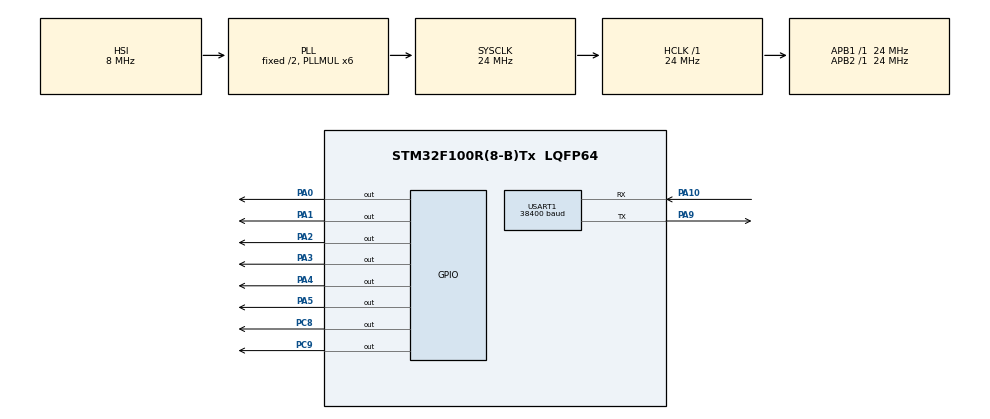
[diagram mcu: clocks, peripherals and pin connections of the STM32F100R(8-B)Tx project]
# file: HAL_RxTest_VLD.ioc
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Mcu.Family=STM32F1
Mcu.Name=STM32F100R(8-B)Tx
Mcu.Package=LQFP64
NVIC.PriorityGroup=NVIC_PRIORITYGROUP_4
NVIC.USART1_IRQn=true\:0\:0\:false\:false\:true\:true
PA0-WKUP.GPIO_Speed=GPIO_SPEED_FREQ_HIGH
PA0-WKUP.Signal=GPIO_Output
PA1.GPIO_Speed=GPIO_SPEED_FREQ_HIGH
PA1.Signal=GPIO_Output
PA10.Mode=Asynchronous
PA10.Signal=USART1_RX
PA13.Mode=Serial_Wire
PA13.Signal=SYS_JTMS-SWDIO
PA14.Mode=Serial_Wire
PA14.Signal=SYS_JTCK-SWCLK
PA2.GPIO_Speed=GPIO_SPEED_FREQ_HIGH
PA2.Signal=GPIO_Output
PA3.GPIO_Speed=GPIO_SPEED_FREQ_HIGH
PA3.Signal=GPIO_Output
PA4.GPIO_Speed=GPIO_SPEED_FREQ_HIGH
PA4.Signal=GPIO_Output
PA5.GPIO_Speed=GPIO_SPEED_FREQ_HIGH
PA5.Signal=GPIO_Output
PA9.Mode=Asynchronous
PA9.Signal=USART1_TX
PC8.GPIO_Speed=GPIO_SPEED_FREQ_HIGH
PC8.Signal=GPIO_Output
PC9.GPIO_Speed=GPIO_SPEED_FREQ_HIGH
PC9.Signal=GPIO_Output
PD0-OSC_IN.Mode=HSE-External-Oscillator
PD0-OSC_IN.Signal=RCC_OSC_IN
PD1-OSC_OUT.Mode=HSE-External-Oscillator
PD1-OSC_OUT.Signal=RCC_OSC_OUT
ProjectManager.HeapSize=0x200
ProjectManager.StackSize=0x400
ProjectManager.TargetToolchain=MDK-ARM V5
RCC.AHBFreq_Value=24000000
RCC.APB1Freq_Value=24000000
RCC.APB1TimFreq_Value=24000000
RCC.APB2Freq_Value=24000000
RCC.APB2TimFreq_Value=24000000
RCC.HCLKFreq_Value=24000000
RCC.PLLMUL=RCC_PLL_MUL6
RCC.SYSCLKFreq_VALUE=24000000
RCC.SYSCLKSource=RCC_SYSCLKSOURCE_PLLCLK
USART1.BaudRate=38400
USART1.StopBits=STOPBITS_2
USART1.VirtualMode=VM_ASYNC
board=HAL_RxTest_VLD

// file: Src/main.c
/**
  ******************************************************************************
  * @file           : main.c
  * @brief          : Main program body
  ******************************************************************************
  ** This notice applies to any and all portions of this file
  * that are not between comment pairs USER CODE BEGIN and
  * USER CODE END. Other portions of this file, whether
  * inserted by the user or by software development tools
  * are owned by their respective copyright owners.
  *
  * COPYRIGHT(c) 2018 STMicroelectronics
  *
  * Redistribution and use in source and binary forms, with or without modification,
  * are permitted provided that the following conditions are met:
  *   1. Redistributions of source code must retain the above copyright notice,
  *      this list of conditions and the following disclaimer.
  *   2. Redistributions in binary form must reproduce the above copyright notice,
  *      this list of conditions and the following disclaimer in the documentation
  *      and/or other materials provided with the distribution.
  *   3. Neither the name of STMicroelectronics nor the names of its contributors
  *      may be used to endorse or promote products derived from this software
  *      without specific prior written permission.
  *
  * THIS SOFTWARE IS PROVIDED BY THE COPYRIGHT HOLDERS AND CONTRIBUTORS "AS IS"
  * AND ANY EXPRESS OR IMPLIED WARRANTIES, INCLUDING, BUT NOT LIMITED TO, THE
  * IMPLIED WARRANTIES OF MERCHANTABILITY AND FITNESS FOR A PARTICULAR PURPOSE ARE
  * DISCLAIMED. IN NO EVENT SHALL THE COPYRIGHT HOLDER OR CONTRIBUTORS BE LIABLE
  * FOR ANY DIRECT, INDIRECT, INCIDENTAL, SPECIAL, EXEMPLARY, OR CONSEQUENTIAL
  * DAMAGES (INCLUDING, BUT NOT LIMITED TO, PROCUREMENT OF SUBSTITUTE GOODS OR
  * SERVICES; LOSS OF USE, DATA, OR PROFITS; OR BUSINESS INTERRUPTION) HOWEVER
  * CAUSED AND ON ANY THEORY OF LIABILITY, WHETHER IN CONTRACT, STRICT LIABILITY,
  * OR TORT (INCLUDING NEGLIGENCE OR OTHERWISE) ARISING IN ANY WAY OUT OF THE USE
  * OF THIS SOFTWARE, EVEN IF ADVISED OF THE POSSIBILITY OF SUCH DAMAGE.
  *
  ******************************************************************************
  */
#include "main.h"
#include "stm32f1xx_hal.h"

/* USER CODE BEGIN Includes */
#include "string.h"
#include "stdio.h"

/* USER CODE END Includes */

UART_HandleTypeDef huart1;

/* USER CODE BEGIN PV */
/* Private variables ---------------------------------------------------------*/
char CRxBuff[2];
char RxBuff[4];
char RxAxis[1];
char RxMult[1];
char RxEnc[2];
/* USER CODE END PV */

void SystemClock_Config(void);
static void MX_GPIO_Init(void);
static void MX_USART1_UART_Init(void);

/* USER CODE BEGIN PFP */
/* Private function prototypes -----------------------------------------------*/

/* USER CODE END PFP */

int main(void)
{

  /* MCU Configuration----------------------------------------------------------*/

  /* Reset of all peripherals, Initializes the Flash interface and the Systick. */
  HAL_Init();

  /* Configure the system clock */
  SystemClock_Config();

  /* Initialize all configured peripherals */
  MX_GPIO_Init();
  MX_USART1_UART_Init();
  /* USER CODE BEGIN 2 */
	/**
	#define UART_IT_MASK  0x0000FFFFU
	#define __HAL_UART_ENABLE_IT(__HANDLE__, __INTERRUPT__)   ((((__INTERRUPT__) >> 28U) == 1U)? ((__HANDLE__)->Instance->CR1 |= ((__INTERRUPT__) & UART_IT_MASK)): \
                                                           (((__INTERRUPT__) >> 28U) == 2U)? ((__HANDLE__)->Instance->CR2 |=  ((__INTERRUPT__) & UART_IT_MASK)): \
                                                        ((__HANDLE__)->Instance->CR3 |= ((__INTERRUPT__) & UART_IT_MASK)))
	@brief  Enable the specified UART interrupt.
  * @param  __HANDLE__ specifies the UART Handle.
  *         This parameter can be UARTx where x: 1, 2, 3, 4, 5, 6, 7 or 8 to select the USART or
  *         UART peripheral.
  * @param  __INTERRUPT__ specifies the UART interrupt source to enable.
  *          This parameter can be one of the following values:
  *            @arg UART_IT_CTS:  CTS change interrupt
  *            @arg UART_IT_LBD:  LIN Break detection interrupt
  *            @arg UART_IT_TXE:  Transmit Data Register empty interrupt
  *            @arg UART_IT_TC:   Transmission complete interrupt
  *            @arg UART_IT_RXNE: Receive Data register not empty interrupt
  *            @arg UART_IT_IDLE: Idle line detection interrupt
  *            @arg UART_IT_PE:   Parity Error interrupt
  *            @arg UART_IT_ERR:  Error interrupt(Frame error, noise error, overrun error)
  * @retval None
  */
	__HAL_UART_ENABLE_IT(&huart1, UART_IT_TC|UART_IT_RXNE);

  /* USER CODE END 2 */

  /* Infinite loop */
  while (1)
  {

  /* USER CODE BEGIN 3 */
		/**
		HAL_UART_Receive_IT(UART_HandleTypeDef *huart, uint8_t *pData, uint16_t Size)
		* @brief  Receives an amount of data in non blocking mode.
		* @param  huart: pointer to a UART_HandleTypeDef structure that contains
		*                the configuration information for the specified UART module.
		* @param  pData: Pointer to data buffer
		* @param  Size: Amount of data to be received
		* @retval HAL status
		*/
		//HAL_UART_Receive_IT(&huart1, (uint8_t *)RxBuff, strlen(RxBuff)); // receive the data and seve in rxBuff
		/**
		extern _ARMABI void *memcpy(void * __restrict s1,
                  const void * __restrict s2, size_t n) __attribute__((__nonnull__(1,2)));
		* copies n characters from the object pointed to by s2 into the object
		* pointed to by s1. If copying takes place between objects that overlap,
		* the behaviour is undefined.
		* Returns: the value of s1.
		*/
		memcpy(RxAxis, &RxBuff[0], 1);
		/**
		int strncmp(const char * s1, const char * s2, size_t n) __attribute__((__nonnull__(1,2)));
    * compares not more than n characters (characters that follow a null
    * character are not compared) from the array pointed to by s1 to the array
    * pointed to by s2.
    * Returns: an integer greater than, equal to, or less than zero, according
    *          as the string pointed to by s1 is greater than, equal to, or
    *          less than the string pointed to by s2.
    */
		if(strncmp(RxAxis, "1", 1) == 0)	//Compara rxBuff con "_"
		{
			HAL_GPIO_WritePin(GPIOA, GPIO_PIN_0, GPIO_PIN_SET);
			HAL_GPIO_WritePin(GPIOA, GPIO_PIN_1, GPIO_PIN_RESET);
			HAL_GPIO_WritePin(GPIOA, GPIO_PIN_2, GPIO_PIN_RESET);
			//HAL_Delay(100);
		} else if(strncmp(RxAxis, "2", 1) == 0)
			{
				HAL_GPIO_WritePin(GPIOA, GPIO_PIN_0, GPIO_PIN_RESET);
				HAL_GPIO_WritePin(GPIOA, GPIO_PIN_1, GPIO_PIN_SET);
				HAL_GPIO_WritePin(GPIOA, GPIO_PIN_2, GPIO_PIN_RESET);
				//HAL_Delay(100);
			} else if(strncmp(RxAxis, "3", 1) == 0)
				{
					HAL_GPIO_WritePin(GPIOA, GPIO_PIN_0, GPIO_PIN_RESET);
					HAL_GPIO_WritePin(GPIOA, GPIO_PIN_1, GPIO_PIN_RESET);
					HAL_GPIO_WritePin(GPIOA, GPIO_PIN_2, GPIO_PIN_SET);
					//HAL_Delay(100);
				}
		memcpy(RxMult, &RxBuff[1], 1);
		if(strncmp(RxMult, "1", 1) == 0)
		{
			HAL_GPIO_WritePin(GPIOA, GPIO_PIN_3, GPIO_PIN_SET);
			HAL_GPIO_WritePin(GPIOA, GPIO_PIN_4, GPIO_PIN_RESET);
			HAL_GPIO_WritePin(GPIOA, GPIO_PIN_5, GPIO_PIN_RESET);
			//HAL_Delay(100);
		} else if(strncmp(RxMult, "2", 1) == 0)
			{
				HAL_GPIO_WritePin(GPIOA, GPIO_PIN_3, GPIO_PIN_RESET);
				HAL_GPIO_WritePin(GPIOA, GPIO_PIN_4, GPIO_PIN_SET);
				HAL_GPIO_WritePin(GPIOA, GPIO_PIN_5, GPIO_PIN_RESET);
				//HAL_Delay(100);
			} else if(strncmp(RxMult, "3", 1) == 0)
				{
					HAL_GPIO_WritePin(GPIOA, GPIO_PIN_3, GPIO_PIN_RESET);
					HAL_GPIO_WritePin(GPIOA, GPIO_PIN_4, GPIO_PIN_RESET);
					HAL_GPIO_WritePin(GPIOA, GPIO_PIN_5, GPIO_PIN_SET);
					//HAL_Delay(100);
				}
		memcpy(RxEnc, &RxBuff[2], 2);
		if(strncmp(RxEnc, "00", 2) == 0)
		{
		HAL_GPIO_WritePin(GPIOC, GPIO_PIN_8, GPIO_PIN_RESET);
		HAL_GPIO_WritePin(GPIOC, GPIO_PIN_9, GPIO_PIN_RESET);
		} else if(strncmp(RxEnc, "01", 2) == 0)
			{
			HAL_GPIO_WritePin(GPIOC, GPIO_PIN_8, GPIO_PIN_SET);
			HAL_GPIO_WritePin(GPIOC, GPIO_PIN_9, GPIO_PIN_RESET);
			} else if(strncmp(RxEnc, "10", 2) == 0)
				{
				HAL_GPIO_WritePin(GPIOC, GPIO_PIN_8, GPIO_PIN_RESET);
				HAL_GPIO_WritePin(GPIOC, GPIO_PIN_9, GPIO_PIN_SET);
				} else if(strncmp(RxEnc, "11", 2) == 0)
					{
					HAL_GPIO_WritePin(GPIOC, GPIO_PIN_8, GPIO_PIN_SET);
					HAL_GPIO_WritePin(GPIOC, GPIO_PIN_9, GPIO_PIN_SET);
					}
  }
  /* USER CODE END 3 */

}

void SystemClock_Config(void)
{

  RCC_OscInitTypeDef RCC_OscInitStruct;
  RCC_ClkInitTypeDef RCC_ClkInitStruct;

    /**Initializes the CPU, AHB and APB busses clocks
    */
  RCC_OscInitStruct.OscillatorType = RCC_OSCILLATORTYPE_HSI;
  RCC_OscInitStruct.HSIState = RCC_HSI_ON;
  RCC_OscInitStruct.HSICalibrationValue = 16;
  RCC_OscInitStruct.PLL.PLLState = RCC_PLL_ON;
  RCC_OscInitStruct.PLL.PLLSource = RCC_PLLSOURCE_HSI_DIV2;
  RCC_OscInitStruct.PLL.PLLMUL = RCC_PLL_MUL6;
  if (HAL_RCC_OscConfig(&RCC_OscInitStruct) != HAL_OK)
  {
    _Error_Handler(__FILE__, __LINE__);
  }

    /**Initializes the CPU, AHB and APB busses clocks
    */
  RCC_ClkInitStruct.ClockType = RCC_CLOCKTYPE_HCLK|RCC_CLOCKTYPE_SYSCLK
                              |RCC_CLOCKTYPE_PCLK1|RCC_CLOCKTYPE_PCLK2;
  RCC_ClkInitStruct.SYSCLKSource = RCC_SYSCLKSOURCE_PLLCLK;
  RCC_ClkInitStruct.AHBCLKDivider = RCC_SYSCLK_DIV1;
  RCC_ClkInitStruct.APB1CLKDivider = RCC_HCLK_DIV1;
  RCC_ClkInitStruct.APB2CLKDivider = RCC_HCLK_DIV1;

  if (HAL_RCC_ClockConfig(&RCC_ClkInitStruct, FLASH_LATENCY_0) != HAL_OK)
  {
    _Error_Handler(__FILE__, __LINE__);
  }

    /**Configure the Systick interrupt time
    */
  HAL_SYSTICK_Config(HAL_RCC_GetHCLKFreq()/1000);

    /**Configure the Systick
    */
  HAL_SYSTICK_CLKSourceConfig(SYSTICK_CLKSOURCE_HCLK);

  /* SysTick_IRQn interrupt configuration */
  HAL_NVIC_SetPriority(SysTick_IRQn, 0, 0);
}

/* USART1 init function */
static void MX_USART1_UART_Init(void)
{

  huart1.Instance = USART1;
  huart1.Init.BaudRate = 38400;
  huart1.Init.WordLength = UART_WORDLENGTH_8B;
  huart1.Init.StopBits = UART_STOPBITS_2;
  huart1.Init.Parity = UART_PARITY_NONE;
  huart1.Init.Mode = UART_MODE_TX_RX;
  huart1.Init.HwFlowCtl = UART_HWCONTROL_NONE;
  huart1.Init.OverSampling = UART_OVERSAMPLING_16;
  if (HAL_UART_Init(&huart1) != HAL_OK)
  {
    _Error_Handler(__FILE__, __LINE__);
  }

}

/** Configure pins as
        * Analog
        * Input
        * Output
        * EVENT_OUT
        * EXTI
*/
static void MX_GPIO_Init(void)
{

  GPIO_InitTypeDef GPIO_InitStruct;

  /* GPIO Ports Clock Enable */
  __HAL_RCC_GPIOD_CLK_ENABLE();
  __HAL_RCC_GPIOA_CLK_ENABLE();
  __HAL_RCC_GPIOC_CLK_ENABLE();

  /*Configure GPIO pin Output Level */
  HAL_GPIO_WritePin(GPIOA, GPIO_PIN_0|GPIO_PIN_1|GPIO_PIN_2|GPIO_PIN_3
                          |GPIO_PIN_4|GPIO_PIN_5, GPIO_PIN_RESET);

  /*Configure GPIO pin Output Level */
  HAL_GPIO_WritePin(GPIOC, GPIO_PIN_8|GPIO_PIN_9, GPIO_PIN_RESET);

  /*Configure GPIO pins : PA0 PA1 PA2 PA3
                           PA4 PA5 */
  GPIO_InitStruct.Pin = GPIO_PIN_0|GPIO_PIN_1|GPIO_PIN_2|GPIO_PIN_3
                          |GPIO_PIN_4|GPIO_PIN_5;
  GPIO_InitStruct.Mode = GPIO_MODE_OUTPUT_PP;
  GPIO_InitStruct.Pull = GPIO_NOPULL;
  GPIO_InitStruct.Speed = GPIO_SPEED_FREQ_HIGH;
  HAL_GPIO_Init(GPIOA, &GPIO_InitStruct);

  /*Configure GPIO pins : PC8 PC9 */
  GPIO_InitStruct.Pin = GPIO_PIN_8|GPIO_PIN_9;
  GPIO_InitStruct.Mode = GPIO_MODE_OUTPUT_PP;
  GPIO_InitStruct.Pull = GPIO_NOPULL;
  GPIO_InitStruct.Speed = GPIO_SPEED_FREQ_HIGH;
  HAL_GPIO_Init(GPIOC, &GPIO_InitStruct);

}

/* USER CODE BEGIN 4 */
void HAL_UART_RxCpltCallback(UART_HandleTypeDef *huart)
{
  /* Prevent unused argument(s) compilation warning */
  UNUSED(huart);
  /* NOTE: This function Should not be modified, when the callback is needed,
           the HAL_UART_RxCpltCallback could be implemented in the user file
   */
		if(strncmp(CRxBuff, "$", 1) == 0)	//Compara RxBuff con "$"
			HAL_NVIC_SystemReset();
		//AXIS X
		else if(strncmp(CRxBuff, "(", 1) == 0)
		{
			RxBuff[0] = '1';
			RxBuff[1] = '1';
			RxBuff[2] = '0';
			RxBuff[3] = '0';
		}
		else if(strncmp(CRxBuff, "*", 1) == 0)
		{
			RxBuff[0] = '1';
			RxBuff[1] = '1';
			RxBuff[2] = '0';
			RxBuff[3] = '1';
		}
		else if(strncmp(CRxBuff, ",", 1) == 0)
		{
			RxBuff[0] = '1';
			RxBuff[1] = '1';
			RxBuff[2] = '1';
			RxBuff[3] = '0';
		}
		else if(strncmp(CRxBuff, ".", 1) == 0)
		{
			RxBuff[0] = '1';
			RxBuff[1] = '1';
			RxBuff[2] = '1';
			RxBuff[3] = '1';
		}
		else if(strncmp(CRxBuff, "0", 1) == 0)
		{
			RxBuff[0] = '1';
			RxBuff[1] = '2';
			RxBuff[2] = '0';
			RxBuff[3] = '0';
		}
		else if(strncmp(CRxBuff, "2", 1) == 0)
		{
			RxBuff[0] = '1';
			RxBuff[1] = '2';
			RxBuff[2] = '0';
			RxBuff[3] = '1';
		}
		else if(strncmp(CRxBuff, "4", 1) == 0)
		{
			RxBuff[0] = '1';
			RxBuff[1] = '2';
			RxBuff[2] = '1';
			RxBuff[3] = '0';
		}
		else if(strncmp(CRxBuff, "6", 1) == 0)
		{
			RxBuff[0] = '1';
			RxBuff[1] = '2';
			RxBuff[2] = '1';
			RxBuff[3] = '1';
		}
		else if(strncmp(CRxBuff, "8", 1) == 0)
		{
			RxBuff[0] = '1';
			RxBuff[1] = '3';
			RxBuff[2] = '0';
			RxBuff[3] = '0';
		}
		else if(strncmp(CRxBuff, ":", 1) == 0)
		{
			RxBuff[0] = '1';
			RxBuff[1] = '3';
			RxBuff[2] = '0';
			RxBuff[3] = '1';
		}
		else if(strncmp(CRxBuff, "<", 1) == 0)
		{
			RxBuff[0] = '1';
			RxBuff[1] = '3';
			RxBuff[2] = '1';
			RxBuff[3] = '0';
		}
		else if(strncmp(CRxBuff, ">", 1) == 0)
		{
			RxBuff[0] = '1';
			RxBuff[1] = '3';
			RxBuff[2] = '1';
			RxBuff[3] = '1';
		}
		//AXIS Y
		else if(strncmp(CRxBuff, "H", 1) == 0)
		{
			RxBuff[0] = '2';
			RxBuff[1] = '1';
			RxBuff[2] = '0';
			RxBuff[3] = '0';
		}
		else if(strncmp(CRxBuff, "J", 1) == 0)
		{
			RxBuff[0] = '2';
			RxBuff[1] = '1';
			RxBuff[2] = '0';
			RxBuff[3] = '1';
		}
		else if(strncmp(CRxBuff, "L", 1) == 0)
		{
			RxBuff[0] = '2';
			RxBuff[1] = '1';
			RxBuff[2] = '1';
			RxBuff[3] = '0';
		}
		else if(strncmp(CRxBuff, "N", 1) == 0)
		{
			RxBuff[0] = '2';
			RxBuff[1] = '1';
			RxBuff[2] = '1';
			RxBuff[3] = '1';
		}
		else if(strncmp(CRxBuff, "P", 1) == 0)
		{
			RxBuff[0] = '2';
			RxBuff[1] = '2';
			RxBuff[2] = '0';
			RxBuff[3] = '0';
		}
		else if(strncmp(CRxBuff, "R", 1) == 0)
		{
			RxBuff[0] = '2';
			RxBuff[1] = '2';
			RxBuff[2] = '0';
			RxBuff[3] = '1';
		}
		else if(strncmp(CRxBuff, "T", 1) == 0)
		{
			RxBuff[0] = '2';
			RxBuff[1] = '2';
			RxBuff[2] = '1';
			RxBuff[3] = '0';
		}
		else if(strncmp(CRxBuff, "V", 1) == 0)
		{
			RxBuff[0] = '2';
			RxBuff[1] = '2';
			RxBuff[2] = '1';
			RxBuff[3] = '1';
		}
		else if(strncmp(CRxBuff, "X", 1) == 0)
		{
			RxBuff[0] = '2';
			RxBuff[1] = '3';
			RxBuff[2] = '0';
			RxBuff[3] = '0';
		}
		else if(strncmp(CRxBuff, "Z", 1) == 0)
		{
			RxBuff[0] = '2';
			RxBuff[1] = '3';
			RxBuff[2] = '0';
			RxBuff[3] = '1';
		}
		else if(strncmp(CRxBuff, "&", 1) == 0)
		{
			RxBuff[0] = '2';
			RxBuff[1] = '3';
			RxBuff[2] = '1';
			RxBuff[3] = '0';
		}
		else if(strncmp(CRxBuff, "^", 1) == 0)
		{
			RxBuff[0] = '2';
			RxBuff[1] = '3';
			RxBuff[2] = '1';
			RxBuff[3] = '1';
		}
		//AXIS Z
		else if(strncmp(CRxBuff, "h", 1) == 0)
		{
			RxBuff[0] = '3';
			RxBuff[1] = '1';
			RxBuff[2] = '0';
			RxBuff[3] = '0';
		}
		else if(strncmp(CRxBuff, "j", 1) == 0)
		{
			RxBuff[0] = '3';
			RxBuff[1] = '1';
			RxBuff[2] = '0';
			RxBuff[3] = '1';
		}
		else if(strncmp(CRxBuff, "l", 1) == 0)
		{
			RxBuff[0] = '3';
			RxBuff[1] = '1';
			RxBuff[2] = '1';
			RxBuff[3] = '0';
		}
		else if(strncmp(CRxBuff, "n", 1) == 0)
		{
			RxBuff[0] = '3';
			RxBuff[1] = '1';
			RxBuff[2] = '1';
			RxBuff[3] = '1';
		}
		else if(strncmp(CRxBuff, "p", 1) == 0)
		{
			RxBuff[0] = '3';
			RxBuff[1] = '2';
			RxBuff[2] = '0';
			RxBuff[3] = '0';
		}
		else if(strncmp(CRxBuff, "r", 1) == 0)
		{
			RxBuff[0] = '3';
			RxBuff[1] = '2';
			RxBuff[2] = '0';
			RxBuff[3] = '1';
		}
		else if(strncmp(CRxBuff, "t", 1) == 0)
		{
			RxBuff[0] = '3';
			RxBuff[1] = '2';
			RxBuff[2] = '1';
			RxBuff[3] = '0';
		}
		else if(strncmp(CRxBuff, "v", 1) == 0)
		{
			RxBuff[0] = '3';
			RxBuff[1] = '2';
			RxBuff[2] = '1';
			RxBuff[3] = '1';
		}
		else if(strncmp(CRxBuff, "x", 1) == 0)
		{
			RxBuff[0] = '3';
			RxBuff[1] = '3';
			RxBuff[2] = '0';
			RxBuff[3] = '0';
		}
		else if(strncmp(CRxBuff, "z", 1) == 0)
		{
			RxBuff[0] = '3';
			RxBuff[1] = '3';
			RxBuff[2] = '0';
			RxBuff[3] = '1';
		}
		else if(strncmp(CRxBuff, "|", 1) == 0)
		{
			RxBuff[0] = '3';
			RxBuff[1] = '3';
			RxBuff[2] = '1';
			RxBuff[3] = '0';
		}
		else if(strncmp(CRxBuff, "~", 1) == 0)
		{
			RxBuff[0] = '3';
			RxBuff[1] = '3';
			RxBuff[2] = '1';
			RxBuff[3] = '1';
		}
}
/* USER CODE END 4 */

void _Error_Handler(char *file, int line)
{
  while(1)
  {
  }
}

/************************ (C) COPYRIGHT STMicroelectronics *****END OF FILE****/
